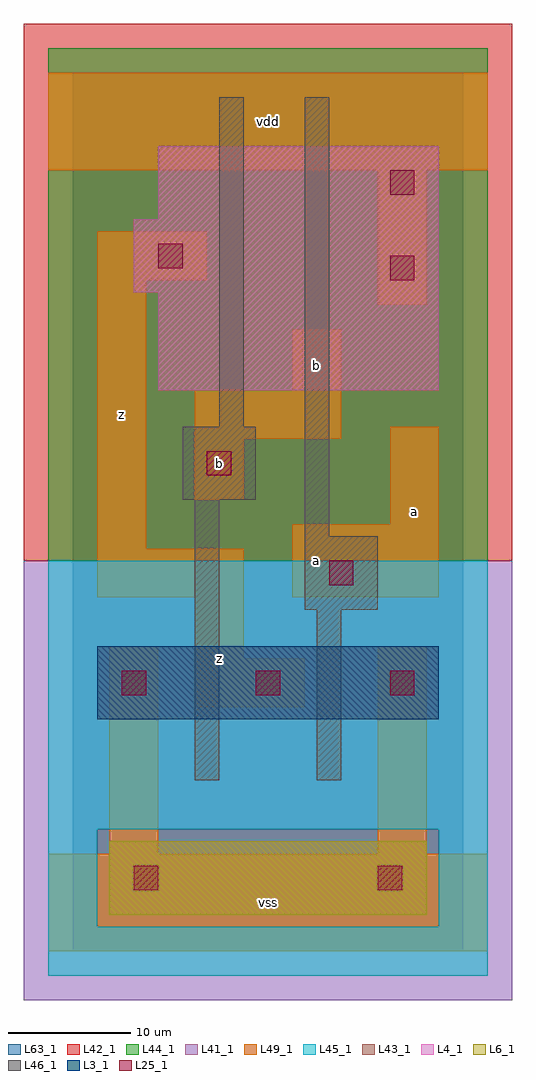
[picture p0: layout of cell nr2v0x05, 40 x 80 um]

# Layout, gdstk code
import gdstk
lib = gdstk.Library(unit=1e-6, precision=1e-09)
def R(c, l, rs):  # rectangles x0, y0, x1, y1
    for r in rs: c.add(gdstk.rectangle(r[:2], r[2:], *l))
def A(c, l, x, y, w, h, nx, ny, dx, dy):  # array of equal rectangles
    R(c, l, [(x+i*dx, y+j*dy, x+i*dx+w, y+j*dy+h) for i in range(nx) for j in range(ny)])
L3_1 = (3, 1)
L4_1 = (4, 1)
L6_1 = (6, 1)
L25_1 = (25, 1)
L41_1 = (41, 1)
L42_1 = (42, 1)
L43_1 = (43, 1)
L44_1 = (44, 1)
L45_1 = (45, 1)
L46_1 = (46, 1)
L49_1 = (49, 1)
L63_1 = (63, 1)

nr2v0x05 = lib.new_cell('nr2v0x05')
R(nr2v0x05, L3_1, [(2,19,30,25)])
R(nr2v0x05, L4_1, [(7,46,30,54), (5,54,30,60), (7,60,30,66)])
R(nr2v0x05, L6_1, [(3,3,29,9), (3,3,29,9)])
A(nr2v0x05, L25_1, 4, 21, 2, 2, 3, 1, 11, 0)
R(nr2v0x05, L25_1, [(5,5,7,7), (25,5,27,7), (21,30,23,32), (11,39,13,41), (26,55,28,57), (7,56,9,58), (26,62,28,64)])
R(nr2v0x05, L41_1, [(-4,-4,36,32)])
R(nr2v0x05, L42_1, [(-4,32,36,76)])
R(nr2v0x05, L43_1, [(3,3,29,9), (2,19,30,25), (7,46,30,54), (5,54,30,60), (7,60,30,66)])
R(nr2v0x05, L44_1, [(2,2,30,10), (-2,32,34,74)])
R(nr2v0x05, L45_1, [(-2,-2,34,2), (-2,2,2,10), (30,2,34,10), (-2,10,34,32)])
R(nr2v0x05, L46_1, [(10,14,12,37), (20,14,22,28), (19,28,25,34), (19,34,21,70), (9,37,15,43), (12,43,14,70)])
R(nr2v0x05, L49_1, [(-2,0,34,8), (3,8,7,25), (25,8,29,25), (10,20,19,24), (10,24,14,29), (2,29,14,33), (18,29,30,35), (2,33,6,55), (26,35,30,43), (10,37,14,42), (10,42,22,46), (18,46,22,51), (25,53,29,64), (2,55,11,59), (-2,64,34,72)])
R(nr2v0x05, L63_1, [(0,0,32,72)])
nr2v0x05.add(gdstk.Label('z', (4,44), layer=49, texttype=1))
nr2v0x05.add(gdstk.Label('z', (12,24), layer=49, texttype=1))
nr2v0x05.add(gdstk.Label('b', (12,40), layer=49, texttype=1))
nr2v0x05.add(gdstk.Label('vss', (16,4), layer=49, texttype=1))
nr2v0x05.add(gdstk.Label('a', (20,32), layer=49, texttype=1))
nr2v0x05.add(gdstk.Label('b', (20,48), layer=49, texttype=1))
nr2v0x05.add(gdstk.Label('vdd', (16,68), layer=49, texttype=1))
nr2v0x05.add(gdstk.Label('a', (28,36), layer=49, texttype=1))

lib.write_gds('nr2v0x05.gds')
